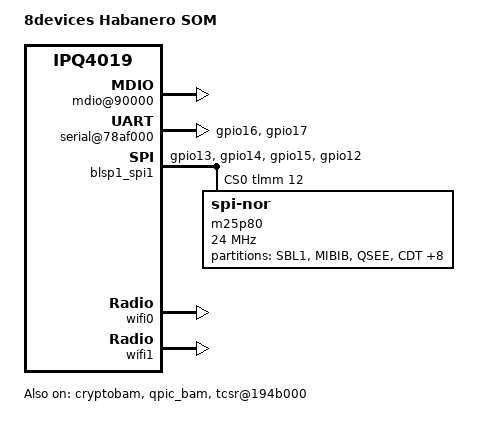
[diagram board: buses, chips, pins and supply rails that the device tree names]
// SPDX-License-Identifier: GPL-2.0-or-later OR MIT

#include "qcom-ipq4019.dtsi"
#include <dt-bindings/gpio/gpio.h>
#include <dt-bindings/input/input.h>
#include <dt-bindings/soc/qcom,tcsr.h>

/ {
	model = "8devices Habanero SOM";
	compatible = "8dev,habanero", "qcom,ipq4019";

	soc {
		mdio@90000 {
			status = "okay";
		};

		ess-psgmii@98000 {
			status = "okay";
		};

		vqmmc: regulator@1948000 {
			compatible = "qcom,ipq40xx-vqmmc-regulator";
			reg = <0x01948000 0x4>;
			regulator-name = "vqmmc";
			regulator-min-microvolt = <1500000>;
			regulator-max-microvolt = <3000000>;
			regulator-always-on;
		};

		tcsr@1949000 {
			compatible = "qcom,tcsr";
			reg = <0x1949000 0x100>;
			qcom,wifi_glb_cfg = <TCSR_WIFI_GLB_CFG>;
		};

		tcsr@194b000 {
			/* select hostmode */
			compatible = "qcom,tcsr";
			reg = <0x194b000 0x100>;
			qcom,usb-hsphy-mode-select = <TCSR_USB_HSPHY_HOST_MODE>;
			status = "okay";
		};

		ess_tcsr@1953000 {
			compatible = "qcom,tcsr";
			reg = <0x1953000 0x1000>;
			qcom,ess-interface-select = <TCSR_ESS_PSGMII>;
		};

		tcsr@1957000 {
			compatible = "qcom,tcsr";
			reg = <0x1957000 0x100>;
			qcom,wifi_noc_memtype_m0_m2 = <TCSR_WIFI_NOC_MEMTYPE_M0_M2>;
		};

		serial@78af000 {
			pinctrl-0 = <&serial_0_pins>;
			pinctrl-names = "default";
			status = "okay";
		};

		crypto@8e3a000 {
			status = "okay";
		};

		watchdog@b017000 {
			status = "okay";
		};

		ess-switch@c000000 {
			status = "okay";
		};

		edma@c080000 {
			status = "okay";
		};

		restart@4ab000 {
			status = "disabled";
		};
	};
};

&blsp_dma {
	status = "okay";
};

&cryptobam {
	status = "okay";
};

&blsp1_spi1 {
	pinctrl-0 = <&spi_0_pins>;
	pinctrl-names = "default";
	status = "okay";
	cs-gpios = <&tlmm 12 GPIO_ACTIVE_HIGH>;

	m25p80@0 {
		compatible = "jedec,spi-nor";
		spi-max-frequency = <24000000>;
		reg = <0>;

		partitions {
			compatible = "fixed-partitions";
			#address-cells = <1>;
			#size-cells = <1>;

			partition0@0 {
				label = "SBL1";
				reg = <0x00000000 0x00040000>;
				read-only;
			};
			partition1@40000 {
				label = "MIBIB";
				reg = <0x00040000 0x00020000>;
				read-only;
			};
			partition2@60000 {
				label = "QSEE";
				reg = <0x00060000 0x00060000>;
				read-only;
			};
			partition3@c0000 {
				label = "CDT";
				reg = <0x000c0000 0x00010000>;
				read-only;
			};
			partition4@d0000 {
				label = "DDRPARAMS";
				reg = <0x000d0000 0x00010000>;
				read-only;
			};
			partition5@e0000 {
				label = "APPSBLENV"; /* uboot env*/
				reg = <0x000e0000 0x00010000>;
				read-only;
			};
			partition6@f0000 {
				label = "APPSBL"; /* uboot */
				reg = <0x000f0000 0x00080000>;
				read-only;
			};
			partition7@170000 {
				label = "ART";
				reg = <0x00170000 0x00010000>;
			};
			partition8@180000 {
				label = "cfg";
				reg = <0x00180000 0x00040000>;
			};
			partition9@1a0000 {
				label = "linux";
				compatible = "denx,fit";
				reg = <0x001c0000 0x01e20000>;
			};
			partition10@4c0000 {
				label = "rootfs";
				reg = <0x004c0000 0x01b20000>;
			};
			partition11@1fe0000 {
				label = "nvram";
				reg = <0x01fe0000 0x020000>;
			};
		};
	};
};

&qpic_bam {
	status = "okay";
};

&tlmm {
	mdio_pins: mdio_pinmux {
		mux_1 {
			pins = "gpio6";
			function = "mdio";
			bias-pull-up;
		};
		mux_2 {
			pins = "gpio7";
			function = "mdc";
			bias-pull-up;
		};
	};

	serial_0_pins: serial_pinmux {
		mux {
			pins = "gpio16", "gpio17";
			function = "blsp_uart0";
			bias-disable;
		};
	};

	spi_0_pins: spi_0_pinmux {
		pinmux {
			function = "blsp_spi0";
			pins = "gpio13", "gpio14", "gpio15";
			drive-strength = <12>;
			bias-disable;
		};
		pinmux_cs {
			function = "gpio";
			pins = "gpio12";
			drive-strength = <2>;
			bias-disable;
			output-high;
		};
	};
};

&wifi0 {
	status = "okay";
	qcom,ath10k-calibration-variant = "8devices-Habanero";
};

&wifi1 {
	status = "okay";
	qcom,ath10k-calibration-variant = "8devices-Habanero";
};
